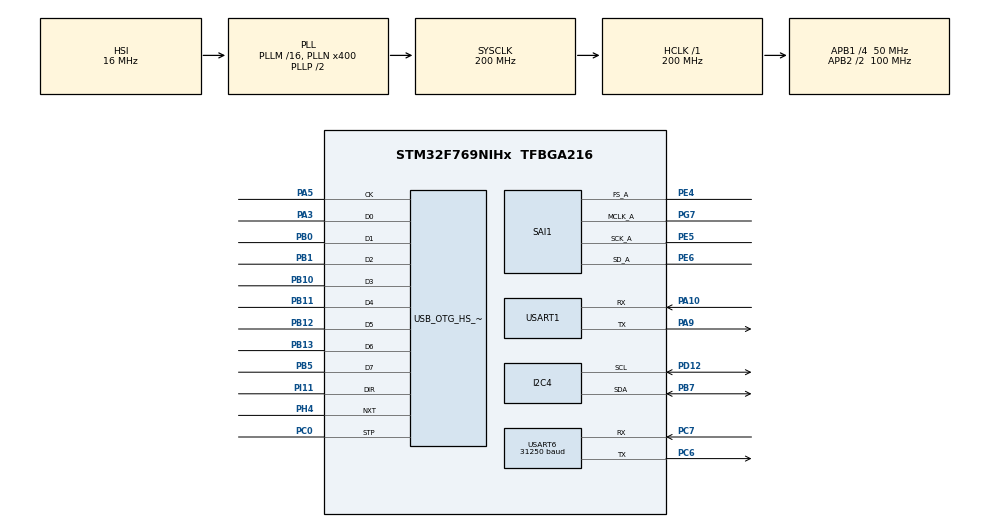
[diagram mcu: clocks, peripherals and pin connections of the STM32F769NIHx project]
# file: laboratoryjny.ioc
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Dma.Request0=SAI1_A
Dma.SAI1_A.0.Direction=DMA_MEMORY_TO_PERIPH
Dma.SAI1_A.0.FIFOMode=DMA_FIFOMODE_ENABLE
Dma.SAI1_A.0.FIFOThreshold=DMA_FIFO_THRESHOLD_FULL
Dma.SAI1_A.0.Instance=DMA2_Stream3
Dma.SAI1_A.0.MemBurst=DMA_MBURST_SINGLE
Dma.SAI1_A.0.MemDataAlignment=DMA_MDATAALIGN_HALFWORD
Dma.SAI1_A.0.MemInc=DMA_MINC_ENABLE
Dma.SAI1_A.0.Mode=DMA_CIRCULAR
Dma.SAI1_A.0.PeriphBurst=DMA_PBURST_SINGLE
Dma.SAI1_A.0.PeriphDataAlignment=DMA_PDATAALIGN_HALFWORD
Dma.SAI1_A.0.PeriphInc=DMA_PINC_DISABLE
Dma.SAI1_A.0.Priority=DMA_PRIORITY_HIGH
I2C4.Timing=0x00C0EAFF
Mcu.Family=STM32F7
Mcu.Name=STM32F769NIHx
Mcu.Package=TFBGA216
NVIC.DMA2_Stream3_IRQn=true\:0\:0\:false\:false\:true\:false\:true
NVIC.OTG_HS_IRQn=true\:0\:0\:false\:false\:true\:false\:true
NVIC.PriorityGroup=NVIC_PRIORITYGROUP_4
NVIC.SAI1_IRQn=true\:0\:0\:false\:false\:true\:true\:true
NVIC.USART1_IRQn=true\:0\:0\:false\:false\:true\:true\:true
NVIC.USART6_IRQn=true\:0\:0\:false\:false\:true\:true\:true
PA10.Mode=Asynchronous
PA10.Signal=USART1_RX
PA3.Mode=Host_HS
PA3.Signal=USB_OTG_HS_ULPI_D0
PA5.Mode=Host_HS
PA5.Signal=USB_OTG_HS_ULPI_CK
PA9.Mode=Asynchronous
PA9.Signal=USART1_TX
PB0.Mode=Host_HS
PB0.Signal=USB_OTG_HS_ULPI_D1
PB1.Mode=Host_HS
PB1.Signal=USB_OTG_HS_ULPI_D2
PB10.Mode=Host_HS
PB10.Signal=USB_OTG_HS_ULPI_D3
PB11.Mode=Host_HS
PB11.Signal=USB_OTG_HS_ULPI_D4
PB12.Mode=Host_HS
PB12.Signal=USB_OTG_HS_ULPI_D5
PB13.Mode=Host_HS
PB13.Signal=USB_OTG_HS_ULPI_D6
PB5.Mode=Host_HS
PB5.Signal=USB_OTG_HS_ULPI_D7
PB7.Mode=I2C
PB7.Signal=I2C4_SDA
PC0.Mode=Host_HS
PC0.Signal=USB_OTG_HS_ULPI_STP
PC6.Mode=Asynchronous
PC6.Signal=USART6_TX
PC7.Mode=Asynchronous
PC7.Signal=USART6_RX
PD12.Mode=I2C
PD12.Signal=I2C4_SCL
PE4.Mode=SAI_A_MasterWithClock
PE4.Signal=SAI1_FS_A
PE5.Mode=SAI_A_MasterWithClock
PE5.Signal=SAI1_SCK_A
PE6.Mode=SAI_A_MasterWithClock
PE6.Signal=SAI1_SD_A
PG7.Mode=SAI_A_MasterWithClock
PG7.Signal=SAI1_MCLK_A
PH4.Mode=Host_HS
PH4.Signal=USB_OTG_HS_ULPI_NXT
PI11.Mode=Host_HS
PI11.Signal=USB_OTG_HS_ULPI_DIR
ProjectManager.HeapSize=0x1000
ProjectManager.StackSize=0x40000
ProjectManager.TargetToolchain=STM32CubeIDE
RCC.AHBFreq_Value=200000000
RCC.APB1CLKDivider=RCC_HCLK_DIV4
RCC.APB1Freq_Value=50000000
RCC.APB1TimFreq_Value=100000000
RCC.APB2CLKDivider=RCC_HCLK_DIV2
RCC.APB2Freq_Value=100000000
RCC.APB2TimFreq_Value=200000000
RCC.CortexFreq_Value=200000000
RCC.HCLKFreq_Value=200000000
RCC.HSE_VALUE=25000000
RCC.HSI_VALUE=16000000
RCC.LSE_VALUE=32768
RCC.PLLN=400
RCC.PLLQ=4
RCC.PLLSAIQ=5
RCC.PLLSAIQDiv=6
RCC.SYSCLKFreq_VALUE=200000000
RCC.SYSCLKSource=RCC_SYSCLKSOURCE_PLLCLK
RCC.USBFreq_Value=100000000
RCC.VCOOutputFreq_Value=400000000
SAI1.AudioFrequency-SAI_A_MasterWithClock=SAI_AUDIO_FREQUENCY_48K
SAI1.ErrorAudioFreq-SAI_A_MasterWithClock=-28.57 %
SAI1.FIFOThreshold-SAI_A_MasterWithClock=SAI_FIFOTHRESHOLD_HF
SAI1.InitProtocol-SAI_A_MasterWithClock=Enable
SAI1.Instance-SAI_A_MasterWithClock=SAI$Index_Block_A
SAI1.MClockEnable-SAI_A_MasterWithClock=SAI_MASTERCLOCK_ENABLE
SAI1.OutputDrive-SAI_A_MasterWithClock=SAI_OUTPUTDRIVE_ENABLE
SAI1.RealAudioFreq-SAI_A_MasterWithClock=34.285 KHz
SAI1.VirtualMode-SAI_A_MasterWithClock=VM_MASTER
SAI1.VirtualProtocol-SAI_A_BASIC=VM_BASIC_PROTOCOL
USART1.VirtualMode-Asynchronous=VM_ASYNC
USART6.BaudRate=31250
USART6.VirtualMode-Asynchronous=VM_ASYNC
USB_HOST.BSP.number=1
USB_HOST.USBH_HandleTypeDef-MSC_HS=hUsbHostHS
USB_HOST.VirtualModeHS=Msc
USB_HOST0.BSP.STBoard=false
USB_HOST0.BSP.api=Unknown
USB_HOST0.BSP.i2caddr=0
USB_HOST0.BSP.instance=I2C4
USB_HOST0.BSP.ip=I2C
USB_HOST0.BSP.mode=I2C
USB_HOST0.BSP.name=Drive_VBUS_HS
USB_HOST0.BSP.solution=I2C4
USB_OTG_HS.VirtualMode-Host_HS=Host_HS
VP_DFSDM1_VS_IN0.Mode=Parallel_Input_ch0
VP_FATFS_VS_USB.Mode=USB
VP_SAI1_VP_$IpInstance_SAIA_SAI_BASIC.Mode=SAI_A_BASIC
VP_USB_HOST_VS_USB_HOST_MSC_HS.Mode=MSC_HS
board=STM32F769I-DISCO

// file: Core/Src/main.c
/* USER CODE BEGIN Header */
/**
  ******************************************************************************
  * @file           : main.c
  * @brief          : Main program body
  ******************************************************************************
  * @attention
  *
  * <h2><center>&copy; Copyright (c) 2021 STMicroelectronics.
  * All rights reserved.</center></h2>
  *
  * This software component is licensed by ST under BSD 3-Clause license,
  * the "License"; You may not use this file except in compliance with the
  * License. You may obtain a copy of the License at:
  *                        opensource.org/licenses/BSD-3-Clause
  *
  ******************************************************************************
  */
/* USER CODE END Header */
#include "main.h"
#include "fatfs.h"
#include "usb_host.h"

/* USER CODE BEGIN Includes */
#include <math.h>
#include "wm8994.h"
#include "stm32f769i_discovery.h"
#include "Polling_routines.hpp"
/* USER CODE END Includes */

DFSDM_Channel_HandleTypeDef hdfsdm1_channel0;

I2C_HandleTypeDef hi2c4;

SAI_HandleTypeDef hsai_BlockA1;
DMA_HandleTypeDef hdma_sai1_a;

UART_HandleTypeDef huart1;
UART_HandleTypeDef huart6;

/* USER CODE BEGIN PV */
__IO int32_t UpdatePointer = -1;
int position;
uint8_t uartMsgData;
bool button_clicked=0;
/* USER CODE END PV */

void SystemClock_Config(void);
static void MX_GPIO_Init(void);
static void MX_DMA_Init(void);
static void MX_I2C4_Init(void);
static void MX_SAI1_Init(void);
static void MX_USART1_UART_Init(void);
static void MX_USART6_UART_Init(void);
static void MX_DFSDM1_Init(void);
void MX_USB_HOST_Process(void);

/* USER CODE BEGIN 0 */
uint16_t buff_out[BUFF_SIZE];
//static uint8_t grana = 0;
//static bool play_flag = 0;
/* USER CODE END 0 */

int main(void)
{

  /* MCU Configuration--------------------------------------------------------*/

  /* Reset of all peripherals, Initializes the Flash interface and the Systick. */
  HAL_Init();

  /* Configure the system clock */
  SystemClock_Config();

  /* USER CODE BEGIN SysInit */
  BSP_LED_Init(LED1);
  BSP_LED_Init(LED2);
  BSP_PB_Init(BUTTON_WAKEUP, BUTTON_MODE_GPIO);
  /* USER CODE END SysInit */

  /* Initialize all configured peripherals */
  MX_GPIO_Init();
  MX_DMA_Init();
  MX_I2C4_Init();
  MX_SAI1_Init();
  MX_USART1_UART_Init();
  MX_USART6_UART_Init();
  MX_FATFS_Init();
  MX_USB_HOST_Init();
  MX_DFSDM1_Init();
  /* USER CODE BEGIN 2 */
  AUDIO_PLAYER_Init();
//	__HAL_SAI_ENABLE(&hsai_BlockA1);
//
//	wm8994_Reset(AUDIO_I2C_ADDRESS);
//	wm8994_Init(AUDIO_I2C_ADDRESS,
//			OUTPUT_DEVICE_HEADPHONE, 70,
//			AUDIO_FREQUENCY_48K);
//	wm8994_Play(AUDIO_I2C_ADDRESS, (uint16_t *) buff_out, 64);
//
//	HAL_SAI_Transmit_DMA(&hsai_BlockA1, (uint8_t *) buff_out,
//			(uint16_t) BUFF_SIZE);

  /* USER CODE END 2 */

  /* Infinite loop */
  /* USER CODE BEGIN WHILE */
//	uint32_t PlaybackPosition = 0;
//	int32_t freq= 1000;

	PollingInit();
  while (1)
  {

	  //	  		PollingRoutine();
	  //	  	  while (UpdatePointer != -1)
	  //	  	  {
	  //	  		  position = UpdatePointer;
	  //	  		  Midi_process();
	  //	  		  BSP_LED_Toggle(LED1);
	  //	  		  UpdatePointer=-1;
	  //
	  //	  	  }

//	  		BSP_LED_Toggle(LED2);
//	  		PollingRoutine();
//	  		while(UpdatePointer == -1);
//	  		int position = UpdatePointer;
//	  		UpdatePointer=-1;
//
//	  		for(int i=0; i < BUFF_SIZE; i+=1)
//	  		{
//
//	  		buff_out[i+position]=65536*(sin(M_PI*PlaybackPosition*freq/AUDIO_FREQUENCY_48K)*0.5+1);//*(uint16_t *)(AUDIO_FILE_ADDRESS + PlaybackPosition);
//
//	  		PlaybackPosition+=1;
//	  		}
//	  		if(PlaybackPosition/AUDIO_FREQUENCY_48K>1)
//	  		{
////	  		freq = freq + 100;
////	  		if (freq<= 0) freq = 5000;
//	  		PlaybackPosition = 0;
//	  		}

//	  	  }

//		uint8_t freq = 0;
//
//		//if (!notes_to_play.empty()) grana = notes_to_play[0];
//		play_flag=1;
//		if (play_flag)
//		{
//			grana = 66;//
//			freq = 440*pow(2, (grana-69)/12.);
//			for(int j=0; j < BUFF_SIZE; j++)
//			{
//
//				buff_out[j+position]=65536*(sin(M_PI*PlaybackPosition*1000/AUDIO_FREQUENCY_48K)*0.5+1);	//*((__IO uint16_t *)(AUDIO_FILE_ADDRESS + PLAY_HEADER + i));
//				PlaybackPosition+=1;
//			}
//	  		if(PlaybackPosition/AUDIO_FREQUENCY_48K>1)
//	  		{
//	  		PlaybackPosition = 0;
//	  		}
//		}
//		else
//		{
//			for(int j=0; j < BUFF_SIZE/2; j++)
//			{
//				buff_out[j+position] = 0;
//			}
//
//		//		}
//		}
	PollingRoutine();

	if(BSP_PB_GetState(BUTTON_WAKEUP))
	{
	  button_clicked=1;
	}
	Midi_process();
    /* USER CODE END WHILE */
    MX_USB_HOST_Process();

    /* USER CODE BEGIN 3 */
    AUDIO_MenuProcess();
  }
  /* USER CODE END 3 */
}

void SystemClock_Config(void)
{
  RCC_OscInitTypeDef RCC_OscInitStruct = {0};
  RCC_ClkInitTypeDef RCC_ClkInitStruct = {0};
  RCC_PeriphCLKInitTypeDef PeriphClkInitStruct = {0};

  /** Configure the main internal regulator output voltage
  */
  __HAL_RCC_PWR_CLK_ENABLE();
  __HAL_PWR_VOLTAGESCALING_CONFIG(PWR_REGULATOR_VOLTAGE_SCALE1);
  /** Initializes the RCC Oscillators according to the specified parameters
  * in the RCC_OscInitTypeDef structure.
  */
  RCC_OscInitStruct.OscillatorType = RCC_OSCILLATORTYPE_HSI;
  RCC_OscInitStruct.HSIState = RCC_HSI_ON;
  RCC_OscInitStruct.HSICalibrationValue = RCC_HSICALIBRATION_DEFAULT;
  RCC_OscInitStruct.PLL.PLLState = RCC_PLL_ON;
  RCC_OscInitStruct.PLL.PLLSource = RCC_PLLSOURCE_HSI;
  RCC_OscInitStruct.PLL.PLLM = 16;
  RCC_OscInitStruct.PLL.PLLN = 400;
  RCC_OscInitStruct.PLL.PLLP = RCC_PLLP_DIV2;
  RCC_OscInitStruct.PLL.PLLQ = 4;
  if (HAL_RCC_OscConfig(&RCC_OscInitStruct) != HAL_OK)
  {
    Error_Handler();
  }
  /** Activate the Over-Drive mode
  */
  if (HAL_PWREx_EnableOverDrive() != HAL_OK)
  {
    Error_Handler();
  }
  /** Initializes the CPU, AHB and APB buses clocks
  */
  RCC_ClkInitStruct.ClockType = RCC_CLOCKTYPE_HCLK|RCC_CLOCKTYPE_SYSCLK
                              |RCC_CLOCKTYPE_PCLK1|RCC_CLOCKTYPE_PCLK2;
  RCC_ClkInitStruct.SYSCLKSource = RCC_SYSCLKSOURCE_PLLCLK;
  RCC_ClkInitStruct.AHBCLKDivider = RCC_SYSCLK_DIV1;
  RCC_ClkInitStruct.APB1CLKDivider = RCC_HCLK_DIV4;
  RCC_ClkInitStruct.APB2CLKDivider = RCC_HCLK_DIV2;

  if (HAL_RCC_ClockConfig(&RCC_ClkInitStruct, FLASH_LATENCY_6) != HAL_OK)
  {
    Error_Handler();
  }
  PeriphClkInitStruct.PeriphClockSelection = RCC_PERIPHCLK_DFSDM1|RCC_PERIPHCLK_USART1
                              |RCC_PERIPHCLK_USART6|RCC_PERIPHCLK_SAI1
                              |RCC_PERIPHCLK_I2C4;
  PeriphClkInitStruct.PLLSAI.PLLSAIN = 192;
  PeriphClkInitStruct.PLLSAI.PLLSAIR = 2;
  PeriphClkInitStruct.PLLSAI.PLLSAIQ = 5;
  PeriphClkInitStruct.PLLSAI.PLLSAIP = RCC_PLLSAIP_DIV2;
  PeriphClkInitStruct.PLLSAIDivQ = 6;
  PeriphClkInitStruct.PLLSAIDivR = RCC_PLLSAIDIVR_2;
  PeriphClkInitStruct.Sai1ClockSelection = RCC_SAI1CLKSOURCE_PLLSAI;
  PeriphClkInitStruct.Usart1ClockSelection = RCC_USART1CLKSOURCE_PCLK2;
  PeriphClkInitStruct.Usart6ClockSelection = RCC_USART6CLKSOURCE_PCLK2;
  PeriphClkInitStruct.I2c4ClockSelection = RCC_I2C4CLKSOURCE_PCLK1;
  PeriphClkInitStruct.Dfsdm1ClockSelection = RCC_DFSDM1CLKSOURCE_PCLK;
  if (HAL_RCCEx_PeriphCLKConfig(&PeriphClkInitStruct) != HAL_OK)
  {
    Error_Handler();
  }
}

static void MX_DFSDM1_Init(void)
{

  hdfsdm1_channel0.Instance = DFSDM1_Channel0;
  hdfsdm1_channel0.Init.OutputClock.Activation = DISABLE;
  hdfsdm1_channel0.Init.OutputClock.Selection = DFSDM_CHANNEL_OUTPUT_CLOCK_SYSTEM;
  hdfsdm1_channel0.Init.OutputClock.Divider = 2;
  hdfsdm1_channel0.Init.Input.Multiplexer = DFSDM_CHANNEL_INTERNAL_REGISTER;
  hdfsdm1_channel0.Init.Input.DataPacking = DFSDM_CHANNEL_STANDARD_MODE;
  hdfsdm1_channel0.Init.Input.Pins = DFSDM_CHANNEL_SAME_CHANNEL_PINS;
  hdfsdm1_channel0.Init.SerialInterface.Type = DFSDM_CHANNEL_SPI_RISING;
  hdfsdm1_channel0.Init.SerialInterface.SpiClock = DFSDM_CHANNEL_SPI_CLOCK_EXTERNAL;
  hdfsdm1_channel0.Init.Awd.FilterOrder = DFSDM_CHANNEL_FASTSINC_ORDER;
  hdfsdm1_channel0.Init.Awd.Oversampling = 1;
  hdfsdm1_channel0.Init.Offset = 0x00;
  hdfsdm1_channel0.Init.RightBitShift = 0x00;
  if (HAL_DFSDM_ChannelInit(&hdfsdm1_channel0) != HAL_OK)
  {
    Error_Handler();
  }

}

static void MX_I2C4_Init(void)
{

  hi2c4.Instance = I2C4;
  hi2c4.Init.Timing = 0x00C0EAFF;
  hi2c4.Init.OwnAddress1 = 0;
  hi2c4.Init.AddressingMode = I2C_ADDRESSINGMODE_7BIT;
  hi2c4.Init.DualAddressMode = I2C_DUALADDRESS_DISABLE;
  hi2c4.Init.OwnAddress2 = 0;
  hi2c4.Init.OwnAddress2Masks = I2C_OA2_NOMASK;
  hi2c4.Init.GeneralCallMode = I2C_GENERALCALL_DISABLE;
  hi2c4.Init.NoStretchMode = I2C_NOSTRETCH_DISABLE;
  if (HAL_I2C_Init(&hi2c4) != HAL_OK)
  {
    Error_Handler();
  }
  /** Configure Analogue filter
  */
  if (HAL_I2CEx_ConfigAnalogFilter(&hi2c4, I2C_ANALOGFILTER_ENABLE) != HAL_OK)
  {
    Error_Handler();
  }
  /** Configure Digital filter
  */
  if (HAL_I2CEx_ConfigDigitalFilter(&hi2c4, 0) != HAL_OK)
  {
    Error_Handler();
  }

}

static void MX_SAI1_Init(void)
{

  hsai_BlockA1.Instance = SAI1_Block_A;
  hsai_BlockA1.Init.AudioMode = SAI_MODEMASTER_TX;
  hsai_BlockA1.Init.Synchro = SAI_ASYNCHRONOUS;
  hsai_BlockA1.Init.OutputDrive = SAI_OUTPUTDRIVE_ENABLE;
  hsai_BlockA1.Init.NoDivider = SAI_MASTERDIVIDER_ENABLE;
  hsai_BlockA1.Init.FIFOThreshold = SAI_FIFOTHRESHOLD_HF;
  hsai_BlockA1.Init.AudioFrequency = SAI_AUDIO_FREQUENCY_48K;
  hsai_BlockA1.Init.SynchroExt = SAI_SYNCEXT_DISABLE;
  hsai_BlockA1.Init.MonoStereoMode = SAI_STEREOMODE;
  hsai_BlockA1.Init.CompandingMode = SAI_NOCOMPANDING;
  hsai_BlockA1.Init.TriState = SAI_OUTPUT_NOTRELEASED;
  if (HAL_SAI_InitProtocol(&hsai_BlockA1, SAI_I2S_STANDARD, SAI_PROTOCOL_DATASIZE_16BIT, 2) != HAL_OK)
  {
    Error_Handler();
  }

}

static void MX_USART1_UART_Init(void)
{

  huart1.Instance = USART1;
  huart1.Init.BaudRate = 115200;
  huart1.Init.WordLength = UART_WORDLENGTH_8B;
  huart1.Init.StopBits = UART_STOPBITS_1;
  huart1.Init.Parity = UART_PARITY_NONE;
  huart1.Init.Mode = UART_MODE_TX_RX;
  huart1.Init.HwFlowCtl = UART_HWCONTROL_NONE;
  huart1.Init.OverSampling = UART_OVERSAMPLING_16;
  huart1.Init.OneBitSampling = UART_ONE_BIT_SAMPLE_DISABLE;
  huart1.AdvancedInit.AdvFeatureInit = UART_ADVFEATURE_NO_INIT;
  if (HAL_UART_Init(&huart1) != HAL_OK)
  {
    Error_Handler();
  }

}

static void MX_USART6_UART_Init(void)
{

  huart6.Instance = USART6;
  huart6.Init.BaudRate = 31250;
  huart6.Init.WordLength = UART_WORDLENGTH_8B;
  huart6.Init.StopBits = UART_STOPBITS_1;
  huart6.Init.Parity = UART_PARITY_NONE;
  huart6.Init.Mode = UART_MODE_TX_RX;
  huart6.Init.HwFlowCtl = UART_HWCONTROL_NONE;
  huart6.Init.OverSampling = UART_OVERSAMPLING_16;
  huart6.Init.OneBitSampling = UART_ONE_BIT_SAMPLE_DISABLE;
  huart6.AdvancedInit.AdvFeatureInit = UART_ADVFEATURE_NO_INIT;
  if (HAL_UART_Init(&huart6) != HAL_OK)
  {
    Error_Handler();
  }

}

static void MX_DMA_Init(void)
{

  /* DMA controller clock enable */
  __HAL_RCC_DMA2_CLK_ENABLE();

  /* DMA interrupt init */
  /* DMA2_Stream3_IRQn interrupt configuration */
  HAL_NVIC_SetPriority(DMA2_Stream3_IRQn, 0, 0);
  HAL_NVIC_EnableIRQ(DMA2_Stream3_IRQn);

}

static void MX_GPIO_Init(void)
{

  /* GPIO Ports Clock Enable */
  __HAL_RCC_GPIOE_CLK_ENABLE();
  __HAL_RCC_GPIOB_CLK_ENABLE();
  __HAL_RCC_GPIOA_CLK_ENABLE();
  __HAL_RCC_GPIOI_CLK_ENABLE();
  __HAL_RCC_GPIOC_CLK_ENABLE();
  __HAL_RCC_GPIOH_CLK_ENABLE();
  __HAL_RCC_GPIOG_CLK_ENABLE();
  __HAL_RCC_GPIOD_CLK_ENABLE();

}

/* USER CODE BEGIN 4 */
//void HAL_SAI_TxCpltCallback(SAI_HandleTypeDef *hsai) {
//	UpdatePointer = 0;
//}
/* USER CODE END 4 */

void Error_Handler(void)
{
  /* USER CODE BEGIN Error_Handler_Debug */
  /* User can add his own implementation to report the HAL error return state */
	BSP_LED_On(LED1);
  __disable_irq();
  while (1)
  {
  }
  /* USER CODE END Error_Handler_Debug */
}

/************************ (C) COPYRIGHT STMicroelectronics *****END OF FILE****/
